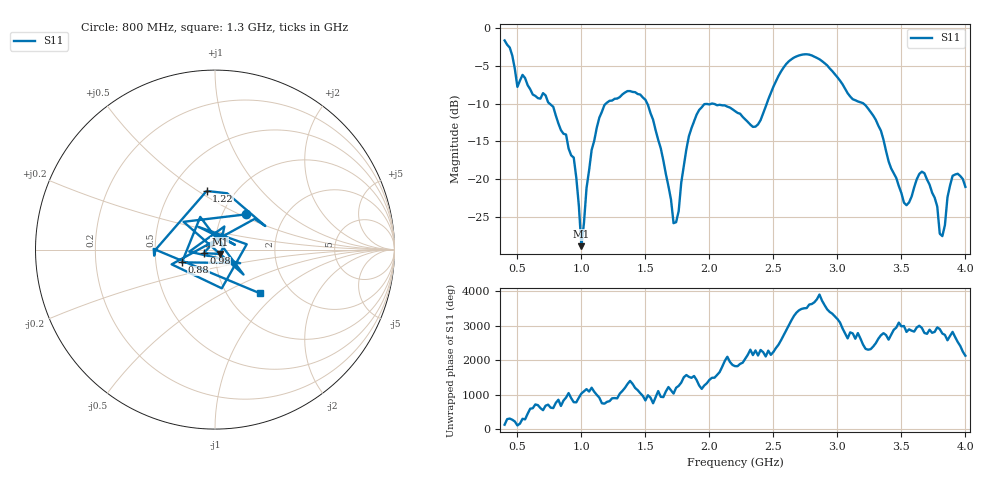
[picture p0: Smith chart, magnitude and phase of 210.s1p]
!Created with skrf (http://scikit-rf.org).
# Hz S RI R 50.0
!freq ReS11 ImS11
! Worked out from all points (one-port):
!   181 points, 400 MHz to 4 GHz, reference 50 ohm
!   lowest |S11| = -28.9 dB at 1 GHz (marker M1), VSWR 1.07, Z = 52.7 - j2.56 ohm
!   |S11| at or under -10 dB: 751.4 MHz to 1.192 GHz (440.4 MHz wide, 45.3 % of centre); 1.515 GHz to 2.018 GHz (502.9 MHz wide, 28.5 % of centre); 3.204 GHz to end of sweep (the widest 3 of 4)
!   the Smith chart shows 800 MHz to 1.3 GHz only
!   S11 on the Smith chart (normalised r, x): 800 MHz: 1.29, +0.55; 880 MHz: 0.68, -0.10; 980 MHz: 0.88, -0.03; 1.22 GHz: 0.74, +0.54; 1.3 GHz: 1.41, -0.78
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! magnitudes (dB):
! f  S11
! 400 MHz  -1.6
! 500 MHz  -7.8
! 800 MHz  -11.6
! 860 MHz  -14.0
! 880 MHz  -14.1
! 940 MHz  -17.1
! 980 MHz  -23.5
! 1 GHz  -28.9
! 1.08 GHz  -16.1
! 1.22 GHz  -9.6
! 1.3 GHz  -9.1
! 1.5 GHz  -9.5
! 1.62 GHz  -15.9
! 1.72 GHz  -25.8
! 1.76 GHz  -24.2
! 1.84 GHz  -14.3
! 1.92 GHz  -10.8
! 2.2 GHz  -11.0
! 2.38 GHz  -12.7
! 2.66 GHz  -3.9
! 2.86 GHz  -4.1
! 3.1 GHz  -9.1
! 3.3 GHz  -12.1
! 3.56 GHz  -23.1
! 3.68 GHz  -19.2
! 3.82 GHz  -27.5
! 3.9 GHz  -19.6
! 4 GHz  -21.0
